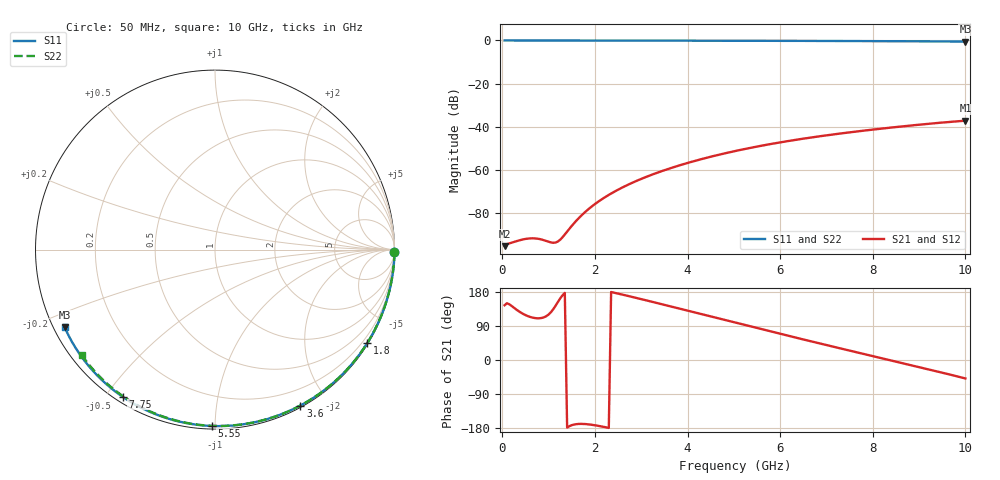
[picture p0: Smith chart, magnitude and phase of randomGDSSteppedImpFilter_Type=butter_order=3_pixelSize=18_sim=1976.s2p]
! freq	dB(S11)	phase(S11)	dB(S12)	phase(S12)
!  dB(S21)	phase(S21)	dB(S22)	phase(S22)
!S-par simulation data
#  GHz  S  DB  R 50
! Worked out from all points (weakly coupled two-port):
!   200 points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, 50 MHz to 10 GHz, reference 50 ohm
!   highest |S21| = -37.26 dB at 10 GHz (marker M1); lowest = -95.5 dB at 50 MHz (marker M2)
!   lowest |S11| = -0.5 dB at 10 GHz (marker M3), VSWR 33.98, Z = 1.56 - j12.1 ohm
!   |S11| at or under -10 dB: nowhere
!   |S22| runs from -0.5 to 0.0 dB; largest |S21 - S12| = 0
!   S11 on the Smith chart (normalised r, x): 50 MHz: open; 1.8 GHz: 0.03, -3.55; 3.6 GHz: 0.02, -1.69; 5.55 GHz: 0.02, -0.98; 7.75 GHz: 0.02, -0.55; 10 GHz: 0.03, -0.24
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0.05  -0.00 -0.9  -95.53 144.5  -95.53 144.5  -0.00 -0.8
0.45  -0.01 -8.0  -92.39 121.7  -92.39 121.7  -0.01 -7.4
0.85  -0.02 -15.0  -92.45 110.9  -92.45 110.9  -0.02 -13.9
1.3  -0.03 -22.9  -91.41 170.6  -91.41 170.6  -0.03 -21.2
1.75  -0.04 -30.6  -80.43 -168.7  -80.43 -168.7  -0.04 -28.3
1.8  -0.04 -31.5  -79.46 -169.1  -79.46 -169.1  -0.04 -29.1
1.95  -0.04 -34.0  -76.80 -171.2  -76.80 -171.2  -0.04 -31.5
2.1  -0.05 -36.6  -74.45 -174.3  -74.45 -174.3  -0.04 -33.9
2.45  -0.05 -42.5  -69.88 176.7  -69.88 176.7  -0.05 -39.3
2.9  -0.06 -49.9  -65.20 163.6  -65.20 163.6  -0.06 -46.3
3.4  -0.08 -58.1  -61.01 148.6  -61.01 148.6  -0.07 -53.8
3.6  -0.08 -61.3  -59.54 142.5  -59.54 142.5  -0.08 -56.8
4.3  -0.10 -72.3  -55.11 121.2  -55.11 121.2  -0.10 -67.1
5.05  -0.13 -83.7  -51.25 98.2  -51.25 98.2  -0.12 -77.8
5.55  -0.15 -91.1  -49.07 82.9  -49.07 82.9  -0.14 -84.7
6.1  -0.18 -99.1  -46.97 66.2  -46.97 66.2  -0.16 -92.1
6.7  -0.21 -107.6  -44.97 48.3  -44.97 48.3  -0.19 -100.1
7.2  -0.24 -114.6  -43.49 33.6  -43.49 33.6  -0.22 -106.5
7.75  -0.28 -122.2  -42.02 17.6  -42.02 17.6  -0.26 -113.6
8.35  -0.33 -130.3  -40.56 0.4  -40.56 0.4  -0.31 -121.1
9.2  -0.42 -141.9  -38.71 -24.4  -38.71 -24.4  -0.39 -131.7
10  -0.51 -152.8  -37.26 -48.7  -37.26 -48.7  -0.48 -141.6
